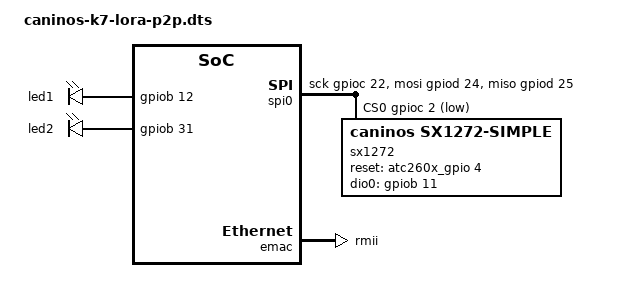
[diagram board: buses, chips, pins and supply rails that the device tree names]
// SPDX-License-Identifier: (GPL-2.0+ OR MIT)

/dts-v1/;
#include "caninos-k7.dtsi"

/ {
	chosen {
		stdout-path = "serial3:115200n8";
	};
	
	psci {
		compatible = "arm,psci-0.2";
		method = "smc";
	};
	
	cpus {
		cpu@0 {
			enable-method = "psci";
		};
		cpu@1 {
			enable-method = "psci";
		};
		cpu@2 {
			enable-method = "psci";
		};
		cpu@3 {
			enable-method = "psci";
		};
	};


	soc {
		
		leds {
			compatible = "gpio-leds";
			
			led@1 {
				label = "led1"; //LVDS_RXOC_P - GPIOB12
				gpios = <&gpiob 12 GPIO_ACTIVE_HIGH>;
				linux,default-trigger = "default-on";
				default-state = "ON";
			};
			
			led@2 {
				label = "led2"; //LCD0_D17 - GPIOB31
				gpios = <&gpiob 31 GPIO_ACTIVE_HIGH>;
				linux,default-trigger = "heartbeat";
				default-state = "ON";
			};
		};
	};

	spi0: spi-gpio {
		compatible = "spi-gpio";
		miso-gpios = <&gpiod 25 GPIO_ACTIVE_HIGH>;
		mosi-gpios = <&gpiod 24 GPIO_ACTIVE_HIGH>;
		sck-gpios  = <&gpioc 22 GPIO_ACTIVE_HIGH>;
		cs-gpios   = <&gpioc 2  GPIO_ACTIVE_LOW>;
		cs-num = <1>;

		#address-cells = <1>;
		#size-cells = <0>;

		sx1272: spi@0 {
			compatible = "caninos,sx1272-simple";
			reg = <0>;
			reset-gpios = <&atc260x_gpio 4 GPIO_ACTIVE_HIGH>;
			dio0-gpios = <&gpiob 11 GPIO_ACTIVE_HIGH>;
			xtal = <32000000>;
			pa-boost;
			status = "okay";
		};
	};
};

&emac {
	phy-mode = "rmii";
	max-speed = <100>;

	phy-power-gpio = <&gpiob 11 GPIO_ACTIVE_HIGH>;
	phy-reset-gpio = <&gpiod 31 GPIO_ACTIVE_HIGH>; 
};

&mmc1 {
	enable-gpios = <&gpiob 30 GPIO_ACTIVE_HIGH>, 
				   <&gpioc 3  GPIO_ACTIVE_HIGH>;
};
